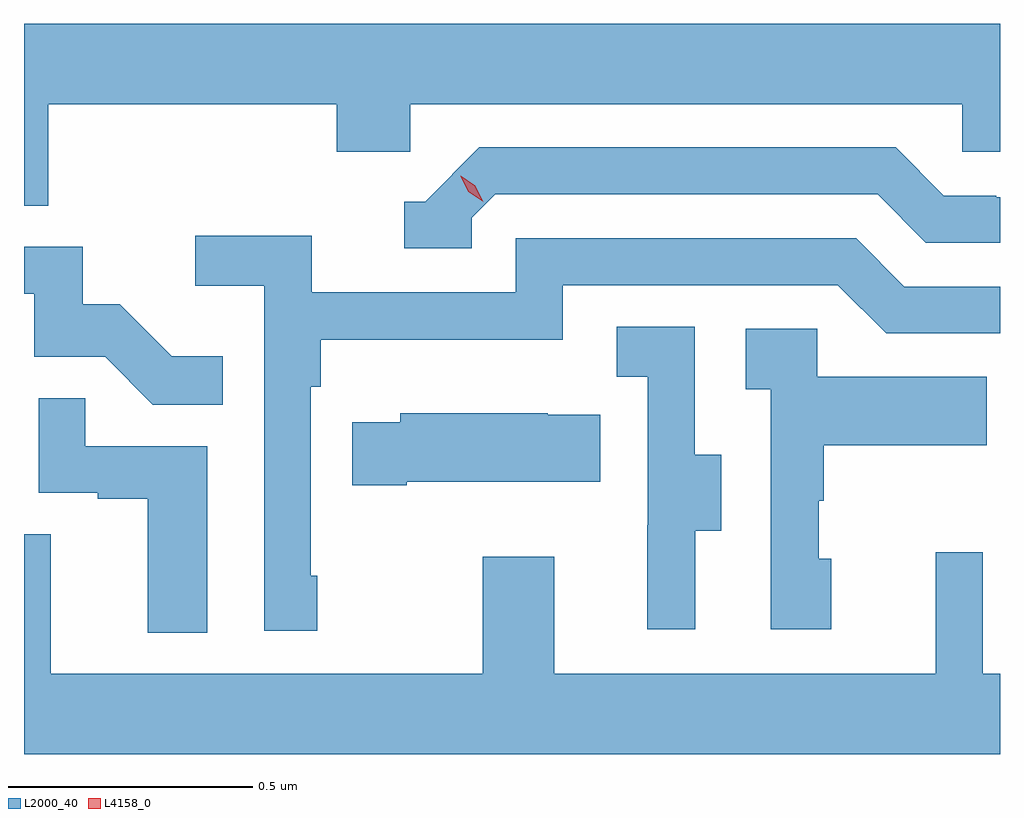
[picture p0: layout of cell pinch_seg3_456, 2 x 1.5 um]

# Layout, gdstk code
import gdstk
lib = gdstk.Library(unit=1e-6, precision=1e-09)
def P(c, l, *ps):  # polygons
    for p in ps: c.add(gdstk.Polygon(p, *l))
L2000_40 = (2000, 40)
L4158_0 = (4158, 0)

pinch_seg3_456 = lib.new_cell('pinch_seg3_456')
P(pinch_seg3_456, L2000_40, [(921.512,676.94),(922.103,676.94),(922.103,676.842),(922.254,676.842),(922.254,676.94),(923.385,676.94),(923.385,676.842),(923.462,676.842),(923.462,677.104),(921.462,677.104),(921.462,676.732),(921.512,676.732)],
  [(922.38,676.707),(922.428,676.755),(923.211,676.755),(923.31,676.656),(923.462,676.656),(923.462,676.749),(923.454,676.749),(923.454,676.752),(923.347,676.752),(923.248,676.851),(922.395,676.851),(922.284,676.74),(922.241,676.74),(922.241,676.644),(922.38,676.644)],
  [(922.063,675.973),(922.05,675.973),(922.05,676.361),(922.07,676.361),(922.07,676.457),(922.566,676.457),(922.566,676.569),(923.13,676.569),(923.229,676.47),(923.462,676.47),(923.462,676.566),(923.266,676.566),(923.167,676.665),(922.47,676.665),(922.47,676.554),(922.052,676.554),(922.052,676.67),(921.813,676.67),(921.813,676.568),(921.954,676.568),(921.954,675.861),(922.063,675.861)],
  [(921.869,676.423),(921.765,676.423),(921.658,676.53),(921.582,676.53),(921.582,676.647),(921.462,676.647),(921.462,676.551),(921.483,676.551),(921.483,676.422),(921.628,676.422),(921.726,676.324),(921.869,676.324)],
  [(922.837,676.066),(922.891,676.066),(922.891,676.221),(922.836,676.221),(922.836,676.484),(922.677,676.484),(922.677,676.381),(922.74,676.381),(922.74,676.077),(922.739,676.077),(922.739,675.864),(922.837,675.864)],
  [(923.116,676.008),(923.091,676.008),(923.091,676.127),(923.101,676.127),(923.101,676.241),(923.435,676.241),(923.435,676.381),(923.088,676.381),(923.088,676.479),(922.941,676.479),(922.941,676.355),(922.992,676.355),(922.992,675.864),(923.116,675.864)],
  [(921.838,676.239),(921.587,676.239),(921.587,676.337),(921.492,676.337),(921.492,676.143),(921.613,676.143),(921.613,676.131),(921.716,676.131),(921.716,675.857),(921.838,675.857)],
  [(922.246,676.166),(922.643,676.166),(922.643,676.303),(922.535,676.303),(922.535,676.306),(922.233,676.306),(922.233,676.288),(922.135,676.288),(922.135,676.159),(922.246,676.159)],
  [(923.462,675.772),(923.427,675.772),(923.427,676.021),(923.33,676.021),(923.33,675.772),(922.549,675.772),(922.549,676.012),(922.402,676.012),(922.402,675.772),(921.517,675.772),(921.517,676.058),(921.462,676.058),(921.462,675.608),(923.462,675.608)])
P(pinch_seg3_456, L4158_0, [(922.403,676.74),(922.372,676.76),(922.357,676.792),(922.357,676.793),(922.357,676.793),(922.387,676.773),(922.403,676.74),(922.403,676.74)])

lib.write_gds('pinch_seg3_456.gds')
